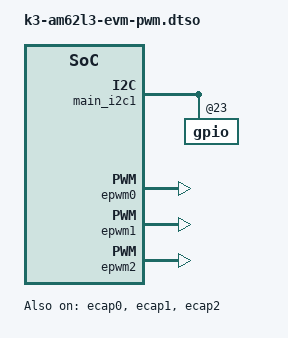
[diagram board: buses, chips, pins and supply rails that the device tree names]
// SPDX-License-Identifier: GPL-2.0-or-later OR MIT
/**
 *
 * DT Overlay for enabling PWM output on user expansion connector for AM62L3 EVM
 *
 * Copyright (C) 2024 Texas Instruments Incorporated - https://www.ti.com/
 */

/dts-v1/;
/plugin/;

#include <dt-bindings/gpio/gpio.h>
#include "k3-pinctrl.h"

&pmx0 {
	main_epwm0_pins_default: main-epwm0-pins-default {
		pinctrl-single,pins = <
			AM62LX_IOPAD(0x00ac, PIN_OUTPUT, 4) /* (G22) GPMC0_AD13.EHRPWM0_A */
			AM62LX_IOPAD(0x00b0, PIN_OUTPUT, 4) /* (F22) GPMC0_AD14.EHRPWM0_B */
		>;
	};

	main_epwm1_pins_default: main-epwm1-pins-default {
		pinctrl-single,pins = <
			AM62LX_IOPAD(0x00b4, PIN_OUTPUT, 4) /* (F23) GPMC0_AD15.EHRPWM1_A */
			AM62LX_IOPAD(0x00b8, PIN_OUTPUT, 4) /* (L21) GPMC0_CLK.EHRPWM1_B */
		>;
	};

	main_epwm2_pins_default: main-epwm2-pins-default {
		pinctrl-single,pins = <
			AM62LX_IOPAD(0x00c4, PIN_OUTPUT, 4) /* (N20) GPMC0_OEn_REn.EHRPWM2_A */
			AM62LX_IOPAD(0x00c8, PIN_OUTPUT, 4) /* (M19) GPMC0_WEn.EHRPWM2_B */
		>;
	};

	main_ecap0_pins_default: main-ecap0-default-pins {
		pinctrl-single,pins = <
			AM62LX_IOPAD(0x0078, PIN_OUTPUT, 5) /* (L22) GPMC0_AD0.ECAP0_IN_APWM_OUT */
		>;
	};

	main_ecap1_pins_default: main_ecap1-default-pins {
		pinctrl-single,pins = <
			AM62LX_IOPAD(0x007c, PIN_OUTPUT, 5) /* (L23) GPMC0_AD1.ECAP1_IN_APWM_OUT */
		>;
	};

	main_ecap2_pins_default: main-ecap2-default-pins {
		pinctrl-single,pins = <
			AM62LX_IOPAD(0x009c, PIN_OUTPUT, 5) /* (H20) GPMC0_AD9.ECAP2_IN_APWM_OUT */
		>;
	};
};

&main_i2c1 {
	gpio@23 {
		fet_sel {
			gpio-hog;
			gpios = <1 GPIO_ACTIVE_HIGH>;
			output-high;
			line-name = "VOUT0_FET_SEL0";
		};
	};
};

&dss {
	status = "disabled";
};

&epwm0 {
	pinctrl-names = "default";
	pinctrl-0 = <&main_epwm0_pins_default>;
	status = "okay";
};

&epwm1 {
	pinctrl-names = "default";
	pinctrl-0 = <&main_epwm1_pins_default>;
	status = "okay";
};

&epwm2 {
	pinctrl-names = "default";
	pinctrl-0 = <&main_epwm2_pins_default>;
	status = "okay";
};

&ecap0 {
	/* ECAP0 in APWM mode */
	/* Pin 24 on J2 */
	pinctrl-names = "default";
	pinctrl-0 = <&main_ecap0_pins_default>;
	status = "okay";
};

&ecap1 {
	/* ECAP1 in APWM mode */
	/* Pin 26 on J2 */
	pinctrl-names = "default";
	pinctrl-0 = <&main_ecap1_pins_default>;
	status = "okay";
};

&ecap2 {
	/* ECAP2 in APWM mode */
	/* Pin 9 on J3 */
	pinctrl-names = "default";
	pinctrl-0 = <&main_ecap2_pins_default>;
	status = "okay";
};
